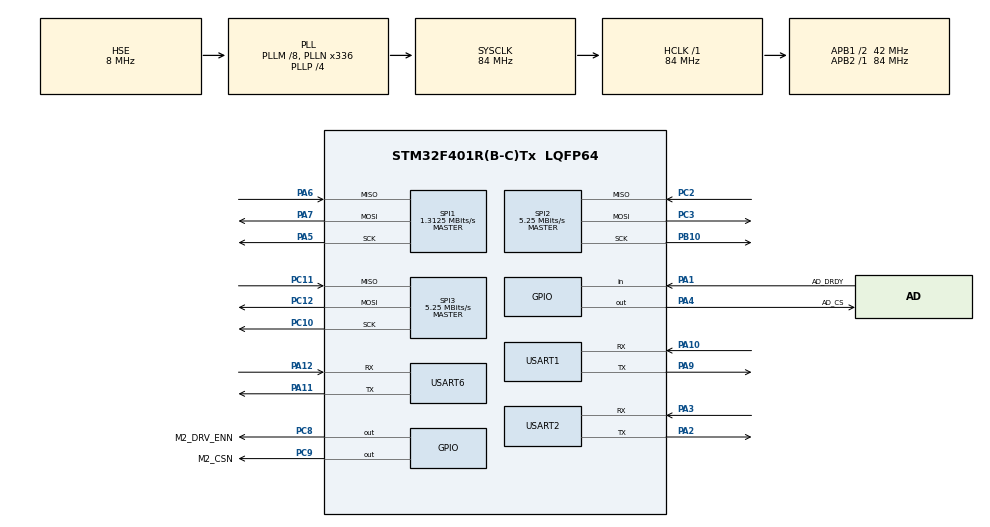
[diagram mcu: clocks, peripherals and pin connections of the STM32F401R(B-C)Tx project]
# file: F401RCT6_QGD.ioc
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FREERTOS.Events01=motorEvent,Dynamic,NULL
FREERTOS.Queues01=tensionQueue,4,float,0,Dynamic,NULL,NULL
FREERTOS.Tasks01=MotorTask,24,256,StartMotorTask,As weak,NULL,Dynamic,NULL,NULL;TensionTask,32,256,StartTensionTask,As weak,NULL,Dynamic,NULL,NULL
Mcu.Family=STM32F4
Mcu.Name=STM32F401R(B-C)Tx
Mcu.Package=LQFP64
NVIC.PriorityGroup=NVIC_PRIORITYGROUP_4
NVIC.SPI2_IRQn=true\:5\:0\:false\:false\:true\:true\:true\:true\:true
NVIC.TIM1_UP_TIM10_IRQn=true\:15\:0\:false\:false\:true\:false\:false\:true\:true
NVIC.TimeBase=TIM1_UP_TIM10_IRQn
NVIC.TimeBaseIP=TIM1
NVIC.USART1_IRQn=true\:7\:0\:true\:false\:true\:true\:true\:true\:true
PA1.GPIO_Label=AD_DRDY
PA1.GPIO_PuPd=GPIO_PULLUP
PA1.Signal=GPIO_Input
PA10.Mode=Asynchronous
PA10.Signal=USART1_RX
PA11.Mode=Asynchronous
PA11.Signal=USART6_TX
PA12.Mode=Asynchronous
PA12.Signal=USART6_RX
PA13.Mode=Serial_Wire
PA13.Signal=SYS_JTMS-SWDIO
PA14.Mode=Serial_Wire
PA14.Signal=SYS_JTCK-SWCLK
PA2.Mode=Asynchronous
PA2.Signal=USART2_TX
PA3.Mode=Asynchronous
PA3.Signal=USART2_RX
PA4.GPIO_Label=AD_CS
PA4.PinState=GPIO_PIN_SET
PA4.Signal=GPIO_Output
PA5.Mode=Full_Duplex_Master
PA5.Signal=SPI1_SCK
PA6.Mode=Full_Duplex_Master
PA6.Signal=SPI1_MISO
PA7.Mode=Full_Duplex_Master
PA7.Signal=SPI1_MOSI
PA9.Mode=Asynchronous
PA9.Signal=USART1_TX
PB10.Mode=Full_Duplex_Master
PB10.Signal=SPI2_SCK
PC10.Mode=Full_Duplex_Master
PC10.Signal=SPI3_SCK
PC11.Mode=Full_Duplex_Master
PC11.Signal=SPI3_MISO
PC12.Mode=Full_Duplex_Master
PC12.Signal=SPI3_MOSI
PC2.Mode=Full_Duplex_Master
PC2.Signal=SPI2_MISO
PC3.Mode=Full_Duplex_Master
PC3.Signal=SPI2_MOSI
PC8.GPIO_Label=M2_DRV_ENN
PC8.PinState=GPIO_PIN_SET
PC8.Signal=GPIO_Output
PC9.GPIO_Label=M2_CSN
PC9.PinState=GPIO_PIN_SET
PC9.Signal=GPIO_Output
PH0\ -\ OSC_IN.Mode=HSE-External-Oscillator
PH0\ -\ OSC_IN.Signal=RCC_OSC_IN
PH1\ -\ OSC_OUT.Mode=HSE-External-Oscillator
PH1\ -\ OSC_OUT.Signal=RCC_OSC_OUT
ProjectManager.HeapSize=0x200
ProjectManager.StackSize=0x400
ProjectManager.TargetToolchain=MDK-ARM V5.32
RCC.48MHZClocksFreq_Value=84000000
RCC.AHBFreq_Value=84000000
RCC.APB1CLKDivider=RCC_HCLK_DIV2
RCC.APB1Freq_Value=42000000
RCC.APB1TimFreq_Value=84000000
RCC.APB2Freq_Value=84000000
RCC.APB2TimFreq_Value=84000000
RCC.CortexFreq_Value=84000000
RCC.HCLKFreq_Value=84000000
RCC.HSE_VALUE=8000000
RCC.HSI_VALUE=16000000
RCC.PLLM=8
RCC.PLLN=336
RCC.PLLP=RCC_PLLP_DIV4
RCC.PLLSourceVirtual=RCC_PLLSOURCE_HSE
RCC.SYSCLKFreq_VALUE=84000000
RCC.SYSCLKSource=RCC_SYSCLKSOURCE_PLLCLK
RCC.VCOOutputFreq_Value=336000000
SPI1.BaudRatePrescaler=SPI_BAUDRATEPRESCALER_64
SPI1.CLKPhase=SPI_PHASE_2EDGE
SPI1.CLKPolarity=SPI_POLARITY_HIGH
SPI1.CalculateBaudRate=1.3125 MBits/s
SPI1.Direction=SPI_DIRECTION_2LINES
SPI1.Mode=SPI_MODE_MASTER
SPI1.VirtualType=VM_MASTER
SPI2.BaudRatePrescaler=SPI_BAUDRATEPRESCALER_8
SPI2.CLKPhase=SPI_PHASE_2EDGE
SPI2.CLKPolarity=SPI_POLARITY_HIGH
SPI2.CalculateBaudRate=5.25 MBits/s
SPI2.Direction=SPI_DIRECTION_2LINES
SPI2.Mode=SPI_MODE_MASTER
SPI2.VirtualType=VM_MASTER
SPI3.BaudRatePrescaler=SPI_BAUDRATEPRESCALER_8
SPI3.CLKPhase=SPI_PHASE_2EDGE
SPI3.CLKPolarity=SPI_POLARITY_HIGH
SPI3.CalculateBaudRate=5.25 MBits/s
SPI3.Direction=SPI_DIRECTION_2LINES
SPI3.Mode=SPI_MODE_MASTER
SPI3.VirtualType=VM_MASTER
USART1.VirtualMode=VM_ASYNC
USART2.VirtualMode=VM_ASYNC
USART6.VirtualMode=VM_ASYNC
VP_FREERTOS_VS_CMSIS_V2.Mode=CMSIS_V2
VP_SYS_VS_tim1.Mode=TIM1
board=custom

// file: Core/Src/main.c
/* USER CODE BEGIN Header */
/**
  ******************************************************************************
  * @file           : main.c
  * @brief          : Main program body
  ******************************************************************************
  * @attention
  *
  * Copyright (c) 2026 STMicroelectronics.
  * All rights reserved.
  *
  * This software is licensed under terms that can be found in the LICENSE file
  * in the root directory of this software component.
  * If no LICENSE file comes with this software, it is provided AS-IS.
  *
  ******************************************************************************
  */
/* USER CODE END Header */
#include "main.h"
#include "cmsis_os.h"
#include "spi.h"
#include "usart.h"
#include "gpio.h"

void SystemClock_Config(void);
void MX_FREERTOS_Init(void);

int main(void)
{

  /* MCU Configuration--------------------------------------------------------*/

  /* Reset of all peripherals, Initializes the Flash interface and the Systick. */
  HAL_Init();

  /* Configure the system clock */
  SystemClock_Config();

  /* Initialize all configured peripherals */
  MX_GPIO_Init();
  MX_USART6_UART_Init();
  MX_SPI3_Init();
  MX_SPI2_Init();
  MX_USART1_UART_Init();
  MX_USART2_UART_Init();
  MX_SPI1_Init();
  /* USER CODE BEGIN 2 */
  TMC_Init();
  /* USER CODE END 2 */

  /* Init scheduler */
  osKernelInitialize();  /* Call init function for freertos objects (in cmsis_os2.c) */
  MX_FREERTOS_Init();

  /* Start scheduler */
  osKernelStart();

  /* We should never get here as control is now taken by the scheduler */

  /* Infinite loop */
  /* USER CODE BEGIN WHILE */
  /*********************TMC5160����*******************************/
  //TMC_Run_Velocity(2000);
  /*********************AD7705����********************************/
  while (1)
  {
/*********************TMC5160����*******************************/
	 // int32_t vel = TMC_Get_Velocity();
    // int32_t pos = TMC_Get_Position();
    // printf("VEL:%ld POS:%ld\r\n", vel, pos);
    // HAL_Delay(500);

    /* USER CODE END WHILE */

  }
}

void SystemClock_Config(void)
{
  RCC_OscInitTypeDef RCC_OscInitStruct = {0};
  RCC_ClkInitTypeDef RCC_ClkInitStruct = {0};

  /** Configure the main internal regulator output voltage
  */
  __HAL_RCC_PWR_CLK_ENABLE();
  __HAL_PWR_VOLTAGESCALING_CONFIG(PWR_REGULATOR_VOLTAGE_SCALE2);

  /** Initializes the RCC Oscillators according to the specified parameters
  * in the RCC_OscInitTypeDef structure.
  */
  RCC_OscInitStruct.OscillatorType = RCC_OSCILLATORTYPE_HSE;
  RCC_OscInitStruct.HSEState = RCC_HSE_ON;
  RCC_OscInitStruct.PLL.PLLState = RCC_PLL_ON;
  RCC_OscInitStruct.PLL.PLLSource = RCC_PLLSOURCE_HSE;
  RCC_OscInitStruct.PLL.PLLM = 8;
  RCC_OscInitStruct.PLL.PLLN = 336;
  RCC_OscInitStruct.PLL.PLLP = RCC_PLLP_DIV4;
  RCC_OscInitStruct.PLL.PLLQ = 4;
  if (HAL_RCC_OscConfig(&RCC_OscInitStruct) != HAL_OK)
  {
    Error_Handler();
  }

  /** Initializes the CPU, AHB and APB buses clocks
  */
  RCC_ClkInitStruct.ClockType = RCC_CLOCKTYPE_HCLK|RCC_CLOCKTYPE_SYSCLK
                              |RCC_CLOCKTYPE_PCLK1|RCC_CLOCKTYPE_PCLK2;
  RCC_ClkInitStruct.SYSCLKSource = RCC_SYSCLKSOURCE_PLLCLK;
  RCC_ClkInitStruct.AHBCLKDivider = RCC_SYSCLK_DIV1;
  RCC_ClkInitStruct.APB1CLKDivider = RCC_HCLK_DIV2;
  RCC_ClkInitStruct.APB2CLKDivider = RCC_HCLK_DIV1;

  if (HAL_RCC_ClockConfig(&RCC_ClkInitStruct, FLASH_LATENCY_2) != HAL_OK)
  {
    Error_Handler();
  }
}

void HAL_TIM_PeriodElapsedCallback(TIM_HandleTypeDef *htim)
{
  if (htim->Instance == TIM1)
  {
    HAL_IncTick();
  }
}

void Error_Handler(void)
{
  __disable_irq();
  while (1)
  {
  }
}

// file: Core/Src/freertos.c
/* USER CODE BEGIN Header */
/**
  ******************************************************************************
  * File Name          : freertos.c
  * Description        : Code for freertos applications
  ******************************************************************************
  * @attention
  *
  * Copyright (c) 2026 STMicroelectronics.
  * All rights reserved.
  *
  * This software is licensed under terms that can be found in the LICENSE file
  * in the root directory of this software component.
  * If no LICENSE file comes with this software, it is provided AS-IS.
  *
  ******************************************************************************
  */
/* USER CODE END Header */

#include "FreeRTOS.h"
#include "task.h"
#include "main.h"
#include "cmsis_os.h"

/* USER CODE BEGIN Includes */
#include "AD7705.h"
#include "TMC5160.h"
/* USER CODE END Includes */

/* USER CODE BEGIN Variables */
/* USER CODE BEGIN Variables */
#define EVT_TENSION_OVER   (1UL << 0)
#define EVT_TENSION_READY  (1UL << 1)  // 新增：去皮完成才允许检测
#define TENSION_LIMIT_KG   3.5f
/* USER CODE END Variables */
/* Definitions for MotorTask */
osThreadId_t MotorTaskHandle;
const osThreadAttr_t MotorTask_attributes = {
  .name = "MotorTask",
  .stack_size = 1024 * 4,
  .priority = (osPriority_t) osPriorityNormal,
};
/* Definitions for TensionTask */
osThreadId_t TensionTaskHandle;
const osThreadAttr_t TensionTask_attributes = {
  .name = "TensionTask",
  .stack_size = 256 * 4,
  .priority = (osPriority_t) osPriorityAboveNormal,
};
/* Definitions for tensionQueue */
osMessageQueueId_t tensionQueueHandle;
const osMessageQueueAttr_t tensionQueue_attributes = {
  .name = "tensionQueue"
};
/* Definitions for motorEvent */
osEventFlagsId_t motorEventHandle;
const osEventFlagsAttr_t motorEvent_attributes = {
  .name = "motorEvent"
};

void StartMotorTask(void *argument);
void StartTensionTask(void *argument);

void MX_FREERTOS_Init(void); /* (MISRA C 2004 rule 8.1) */

void MX_FREERTOS_Init(void) {

  /* Create the queue(s) */
  /* creation of tensionQueue */
  tensionQueueHandle = osMessageQueueNew (4, sizeof(float), &tensionQueue_attributes);

  /* Create the thread(s) */
  /* creation of MotorTask */
  MotorTaskHandle = osThreadNew(StartMotorTask, NULL, &MotorTask_attributes);

  /* creation of TensionTask */
  TensionTaskHandle = osThreadNew(StartTensionTask, NULL, &TensionTask_attributes);

  /* Create the event(s) */
  /* creation of motorEvent */
  motorEventHandle = osEventFlagsNew(&motorEvent_attributes);

}

__weak void StartMotorTask(void *argument)
{
  /* USER CODE BEGIN StartMotorTask */
  float tension = 0.0f;

  AD7705_Init();
  AD7705_Tare();

  // 通知 TensionTask 去皮完成，可以开始检测
  osEventFlagsSet(motorEventHandle, EVT_TENSION_READY);
  printf("[MOTOR] 去皮完成，准备启动\r\n");

  osDelay(500);
  TMC_Run_Velocity(30000);
  printf("[MOTOR] 电机启动\r\n");

  for (;;)
  {
    if (osEventFlagsGet(motorEventHandle) & EVT_TENSION_OVER) {
      TMC_Stop();
      osEventFlagsClear(motorEventHandle, EVT_TENSION_OVER);
      printf("[MOTOR] 拉力到达限制，电机已停止\r\n");
      osThreadSuspend(NULL);
    }

    if (osMessageQueueGet(tensionQueueHandle, &tension, NULL, 0) == osOK) {
      printf("[MON] v=%ld  tension=%.3f kg\r\n",
             (long)TMC_Get_Velocity(), tension);
    }

    osDelay(50);
  }
  /* USER CODE END StartMotorTask */
}
__weak void StartTensionTask(void *argument)
{
  /* USER CODE BEGIN StartTensionTask */
  float   tension  = 0.0f;
  float   last_val = 0.0f;
  uint8_t over_cnt = 0;

  // 等待 MotorTask 去皮完成信号，永久等待
  osEventFlagsWait(motorEventHandle, EVT_TENSION_READY,
                   osFlagsWaitAny, osWaitForever);
  printf("[TENSION] 开始拉力监测\r\n");

  for (;;)
  {
    tension = AD7705_TryReadWeightKg();

    if (tension >= 0.0f) {
      last_val = tension;
      osMessageQueuePut(tensionQueueHandle, &last_val, 0, 0);

      if (last_val > TENSION_LIMIT_KG) {
        over_cnt++;
        if (over_cnt >= 3) {
          osEventFlagsSet(motorEventHandle, EVT_TENSION_OVER);
          over_cnt = 0;
        }
      } else {
        over_cnt = 0;
      }
    }

    osDelay(20);
  }
  /* USER CODE END StartTensionTask */
}
